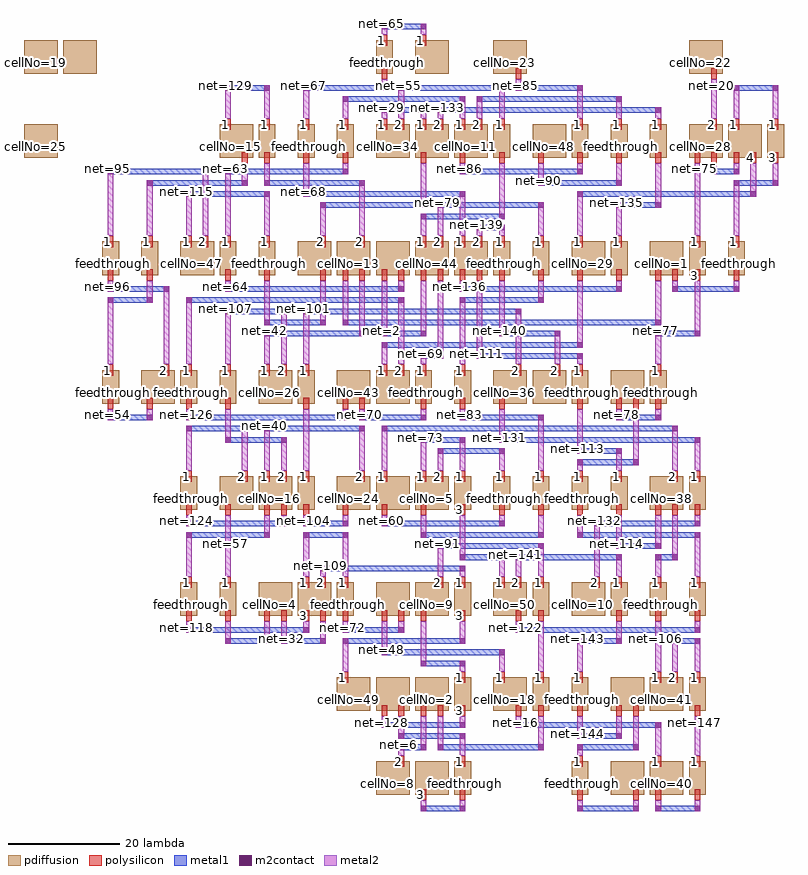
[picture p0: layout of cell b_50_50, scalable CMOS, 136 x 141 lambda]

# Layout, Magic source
magic
tech scmos
timestamp 1555071776 
<< pdiffusion >>
rect 1 -8 7 -2
rect 8 -8 14 -2
rect 64 -8 67 -2
rect 71 -8 77 -2
rect 85 -8 91 -2
rect 120 -8 126 -2
rect 1 -23 7 -17
rect 36 -23 42 -17
rect 43 -23 46 -17
rect 50 -23 53 -17
rect 57 -23 60 -17
rect 64 -23 70 -17
rect 71 -23 77 -17
rect 78 -23 84 -17
rect 85 -23 88 -17
rect 92 -23 98 -17
rect 99 -23 102 -17
rect 106 -23 109 -17
rect 113 -23 116 -17
rect 120 -23 126 -17
rect 127 -23 133 -17
rect 134 -23 137 -17
rect 15 -44 18 -38
rect 22 -44 25 -38
rect 29 -44 35 -38
rect 36 -44 39 -38
rect 43 -44 46 -38
rect 50 -44 56 -38
rect 57 -44 63 -38
rect 64 -44 70 -38
rect 71 -44 77 -38
rect 78 -44 84 -38
rect 85 -44 88 -38
rect 92 -44 95 -38
rect 99 -44 105 -38
rect 106 -44 109 -38
rect 113 -44 119 -38
rect 120 -44 123 -38
rect 127 -44 130 -38
rect 15 -67 18 -61
rect 22 -67 28 -61
rect 29 -67 32 -61
rect 36 -67 39 -61
rect 43 -67 49 -61
rect 50 -67 53 -61
rect 57 -67 63 -61
rect 64 -67 70 -61
rect 71 -67 74 -61
rect 78 -67 81 -61
rect 85 -67 91 -61
rect 92 -67 98 -61
rect 99 -67 102 -61
rect 106 -67 112 -61
rect 113 -67 116 -61
rect 29 -86 32 -80
rect 36 -86 42 -80
rect 43 -86 49 -80
rect 50 -86 53 -80
rect 57 -86 63 -80
rect 64 -86 70 -80
rect 71 -86 77 -80
rect 78 -86 81 -80
rect 85 -86 88 -80
rect 92 -86 95 -80
rect 99 -86 102 -80
rect 106 -86 109 -80
rect 113 -86 119 -80
rect 120 -86 123 -80
rect 29 -105 32 -99
rect 36 -105 39 -99
rect 43 -105 49 -99
rect 50 -105 56 -99
rect 57 -105 60 -99
rect 64 -105 70 -99
rect 71 -105 77 -99
rect 78 -105 81 -99
rect 85 -105 91 -99
rect 92 -105 95 -99
rect 99 -105 105 -99
rect 106 -105 109 -99
rect 113 -105 116 -99
rect 120 -105 123 -99
rect 57 -122 63 -116
rect 64 -122 70 -116
rect 71 -122 77 -116
rect 78 -122 81 -116
rect 85 -122 91 -116
rect 92 -122 95 -116
rect 99 -122 102 -116
rect 106 -122 112 -116
rect 113 -122 119 -116
rect 120 -122 123 -116
rect 64 -137 70 -131
rect 71 -137 77 -131
rect 78 -137 81 -131
rect 99 -137 102 -131
rect 106 -137 112 -131
rect 113 -137 119 -131
rect 120 -137 123 -131
<< polysilicon >>
rect 65 -3 66 -1
rect 65 -9 66 -7
rect 72 -3 73 -1
rect 89 -9 90 -7
rect 124 -9 125 -7
rect 37 -18 38 -16
rect 40 -24 41 -22
rect 44 -18 45 -16
rect 44 -24 45 -22
rect 51 -18 52 -16
rect 51 -24 52 -22
rect 58 -18 59 -16
rect 58 -24 59 -22
rect 65 -18 66 -16
rect 68 -18 69 -16
rect 72 -18 73 -16
rect 75 -18 76 -16
rect 72 -24 73 -22
rect 79 -18 80 -16
rect 82 -18 83 -16
rect 79 -24 80 -22
rect 86 -18 87 -16
rect 86 -24 87 -22
rect 93 -24 94 -22
rect 100 -18 101 -16
rect 100 -24 101 -22
rect 107 -18 108 -16
rect 107 -24 108 -22
rect 114 -18 115 -16
rect 114 -24 115 -22
rect 124 -18 125 -16
rect 121 -24 122 -22
rect 124 -24 125 -22
rect 128 -18 129 -16
rect 128 -24 129 -22
rect 131 -24 132 -22
rect 135 -18 136 -16
rect 135 -24 136 -22
rect 16 -39 17 -37
rect 16 -45 17 -43
rect 23 -39 24 -37
rect 23 -45 24 -43
rect 30 -39 31 -37
rect 33 -39 34 -37
rect 37 -39 38 -37
rect 37 -45 38 -43
rect 44 -39 45 -37
rect 44 -45 45 -43
rect 54 -39 55 -37
rect 54 -45 55 -43
rect 61 -39 62 -37
rect 58 -45 59 -43
rect 61 -45 62 -43
rect 65 -45 66 -43
rect 68 -45 69 -43
rect 72 -39 73 -37
rect 75 -39 76 -37
rect 72 -45 73 -43
rect 75 -45 76 -43
rect 79 -39 80 -37
rect 82 -39 83 -37
rect 79 -45 80 -43
rect 82 -45 83 -43
rect 86 -39 87 -37
rect 86 -45 87 -43
rect 93 -39 94 -37
rect 93 -45 94 -43
rect 100 -39 101 -37
rect 100 -45 101 -43
rect 107 -39 108 -37
rect 107 -45 108 -43
rect 114 -45 115 -43
rect 117 -45 118 -43
rect 121 -39 122 -37
rect 121 -45 122 -43
rect 128 -39 129 -37
rect 128 -45 129 -43
rect 16 -62 17 -60
rect 16 -68 17 -66
rect 26 -62 27 -60
rect 23 -68 24 -66
rect 30 -62 31 -60
rect 30 -68 31 -66
rect 37 -62 38 -60
rect 37 -68 38 -66
rect 44 -62 45 -60
rect 47 -62 48 -60
rect 51 -62 52 -60
rect 51 -68 52 -66
rect 58 -68 59 -66
rect 61 -68 62 -66
rect 65 -62 66 -60
rect 68 -62 69 -60
rect 72 -62 73 -60
rect 72 -68 73 -66
rect 79 -62 80 -60
rect 79 -68 80 -66
rect 89 -62 90 -60
rect 86 -68 87 -66
rect 96 -62 97 -60
rect 100 -62 101 -60
rect 100 -68 101 -66
rect 107 -68 108 -66
rect 110 -68 111 -66
rect 114 -62 115 -60
rect 114 -68 115 -66
rect 30 -81 31 -79
rect 30 -87 31 -85
rect 40 -81 41 -79
rect 37 -87 38 -85
rect 44 -81 45 -79
rect 47 -81 48 -79
rect 44 -87 45 -85
rect 47 -87 48 -85
rect 51 -81 52 -79
rect 51 -87 52 -85
rect 61 -81 62 -79
rect 58 -87 59 -85
rect 65 -81 66 -79
rect 65 -87 66 -85
rect 72 -81 73 -79
rect 75 -81 76 -79
rect 72 -87 73 -85
rect 79 -81 80 -79
rect 79 -87 80 -85
rect 86 -81 87 -79
rect 86 -87 87 -85
rect 93 -81 94 -79
rect 93 -87 94 -85
rect 100 -81 101 -79
rect 100 -87 101 -85
rect 107 -81 108 -79
rect 107 -87 108 -85
rect 117 -81 118 -79
rect 114 -87 115 -85
rect 117 -87 118 -85
rect 121 -81 122 -79
rect 121 -87 122 -85
rect 30 -100 31 -98
rect 30 -106 31 -104
rect 37 -100 38 -98
rect 37 -106 38 -104
rect 44 -106 45 -104
rect 47 -106 48 -104
rect 51 -100 52 -98
rect 54 -100 55 -98
rect 51 -106 52 -104
rect 54 -106 55 -104
rect 58 -100 59 -98
rect 58 -106 59 -104
rect 65 -106 66 -104
rect 68 -106 69 -104
rect 75 -100 76 -98
rect 72 -106 73 -104
rect 79 -100 80 -98
rect 79 -106 80 -104
rect 86 -100 87 -98
rect 89 -100 90 -98
rect 89 -106 90 -104
rect 93 -100 94 -98
rect 93 -106 94 -104
rect 103 -100 104 -98
rect 107 -100 108 -98
rect 107 -106 108 -104
rect 114 -100 115 -98
rect 114 -106 115 -104
rect 121 -100 122 -98
rect 121 -106 122 -104
rect 58 -117 59 -115
rect 65 -123 66 -121
rect 68 -123 69 -121
rect 72 -123 73 -121
rect 75 -123 76 -121
rect 79 -117 80 -115
rect 79 -123 80 -121
rect 86 -117 87 -115
rect 89 -123 90 -121
rect 93 -117 94 -115
rect 93 -123 94 -121
rect 100 -117 101 -115
rect 100 -123 101 -121
rect 107 -123 108 -121
rect 110 -123 111 -121
rect 114 -117 115 -115
rect 117 -117 118 -115
rect 121 -117 122 -115
rect 121 -123 122 -121
rect 68 -132 69 -130
rect 72 -138 73 -136
rect 79 -132 80 -130
rect 79 -138 80 -136
rect 100 -132 101 -130
rect 100 -138 101 -136
rect 110 -138 111 -136
rect 114 -132 115 -130
rect 114 -138 115 -136
rect 121 -132 122 -130
rect 121 -138 122 -136
<< metal1 >>
rect 65 0 73 1
rect 37 -11 45 -10
rect 51 -11 66 -10
rect 68 -11 87 -10
rect 89 -11 101 -10
rect 128 -11 136 -10
rect 58 -13 80 -12
rect 82 -13 108 -12
rect 65 -15 73 -14
rect 75 -15 115 -14
rect 16 -26 34 -25
rect 37 -26 59 -25
rect 79 -26 101 -25
rect 124 -26 129 -25
rect 23 -28 41 -27
rect 44 -28 62 -27
rect 93 -28 108 -27
rect 128 -28 136 -27
rect 30 -30 45 -29
rect 51 -30 80 -29
rect 100 -30 132 -29
rect 54 -32 73 -31
rect 75 -32 94 -31
rect 107 -32 115 -31
rect 72 -34 87 -33
rect 82 -36 87 -35
rect 16 -47 27 -46
rect 37 -47 69 -46
rect 79 -47 108 -46
rect 117 -47 129 -46
rect 16 -49 24 -48
rect 30 -49 69 -48
rect 79 -49 94 -48
rect 37 -51 48 -50
rect 51 -51 90 -50
rect 44 -53 55 -52
rect 58 -53 115 -52
rect 44 -55 62 -54
rect 65 -55 73 -54
rect 86 -55 97 -54
rect 114 -55 122 -54
rect 65 -57 101 -56
rect 72 -59 76 -58
rect 82 -59 101 -58
rect 16 -70 24 -69
rect 30 -70 59 -69
rect 61 -70 73 -69
rect 79 -70 94 -69
rect 107 -70 115 -69
rect 30 -72 41 -71
rect 44 -72 62 -71
rect 65 -72 118 -71
rect 37 -74 48 -73
rect 72 -74 80 -73
rect 86 -74 122 -73
rect 75 -76 87 -75
rect 100 -76 108 -75
rect 100 -78 111 -77
rect 30 -89 48 -88
rect 51 -89 59 -88
rect 65 -89 87 -88
rect 103 -89 122 -88
rect 30 -91 45 -90
rect 51 -91 59 -90
rect 72 -91 94 -90
rect 100 -91 122 -90
rect 75 -93 94 -92
rect 107 -93 115 -92
rect 79 -95 87 -94
rect 89 -95 108 -94
rect 114 -95 118 -94
rect 54 -97 80 -96
rect 30 -108 52 -107
rect 58 -108 69 -107
rect 89 -108 122 -107
rect 37 -110 45 -109
rect 47 -110 55 -109
rect 58 -110 80 -109
rect 100 -110 108 -109
rect 117 -110 122 -109
rect 65 -112 87 -111
rect 72 -114 80 -113
rect 65 -125 80 -124
rect 89 -125 115 -124
rect 68 -127 80 -126
rect 100 -127 108 -126
rect 68 -129 73 -128
rect 75 -129 94 -128
rect 100 -129 111 -128
rect 72 -140 80 -139
rect 100 -140 111 -139
rect 114 -140 122 -139
<< m2contact >>
rect 65 0 66 1
rect 72 0 73 1
rect 37 -11 38 -10
rect 44 -11 45 -10
rect 51 -11 52 -10
rect 65 -11 66 -10
rect 68 -11 69 -10
rect 86 -11 87 -10
rect 89 -11 90 -10
rect 100 -11 101 -10
rect 128 -11 129 -10
rect 135 -11 136 -10
rect 58 -13 59 -12
rect 79 -13 80 -12
rect 82 -13 83 -12
rect 107 -13 108 -12
rect 65 -15 66 -14
rect 72 -15 73 -14
rect 75 -15 76 -14
rect 114 -15 115 -14
rect 16 -26 17 -25
rect 33 -26 34 -25
rect 37 -26 38 -25
rect 58 -26 59 -25
rect 79 -26 80 -25
rect 100 -26 101 -25
rect 124 -26 125 -25
rect 128 -26 129 -25
rect 23 -28 24 -27
rect 40 -28 41 -27
rect 44 -28 45 -27
rect 61 -28 62 -27
rect 93 -28 94 -27
rect 107 -28 108 -27
rect 128 -28 129 -27
rect 135 -28 136 -27
rect 30 -30 31 -29
rect 44 -30 45 -29
rect 51 -30 52 -29
rect 79 -30 80 -29
rect 100 -30 101 -29
rect 131 -30 132 -29
rect 54 -32 55 -31
rect 72 -32 73 -31
rect 75 -32 76 -31
rect 93 -32 94 -31
rect 107 -32 108 -31
rect 114 -32 115 -31
rect 72 -34 73 -33
rect 86 -34 87 -33
rect 82 -36 83 -35
rect 86 -36 87 -35
rect 16 -47 17 -46
rect 26 -47 27 -46
rect 37 -47 38 -46
rect 68 -47 69 -46
rect 79 -47 80 -46
rect 107 -47 108 -46
rect 117 -47 118 -46
rect 128 -47 129 -46
rect 16 -49 17 -48
rect 23 -49 24 -48
rect 30 -49 31 -48
rect 68 -49 69 -48
rect 79 -49 80 -48
rect 93 -49 94 -48
rect 37 -51 38 -50
rect 47 -51 48 -50
rect 51 -51 52 -50
rect 89 -51 90 -50
rect 44 -53 45 -52
rect 54 -53 55 -52
rect 58 -53 59 -52
rect 114 -53 115 -52
rect 44 -55 45 -54
rect 61 -55 62 -54
rect 65 -55 66 -54
rect 72 -55 73 -54
rect 86 -55 87 -54
rect 96 -55 97 -54
rect 114 -55 115 -54
rect 121 -55 122 -54
rect 65 -57 66 -56
rect 100 -57 101 -56
rect 72 -59 73 -58
rect 75 -59 76 -58
rect 82 -59 83 -58
rect 100 -59 101 -58
rect 16 -70 17 -69
rect 23 -70 24 -69
rect 30 -70 31 -69
rect 58 -70 59 -69
rect 61 -70 62 -69
rect 72 -70 73 -69
rect 79 -70 80 -69
rect 93 -70 94 -69
rect 107 -70 108 -69
rect 114 -70 115 -69
rect 30 -72 31 -71
rect 40 -72 41 -71
rect 44 -72 45 -71
rect 61 -72 62 -71
rect 65 -72 66 -71
rect 117 -72 118 -71
rect 37 -74 38 -73
rect 47 -74 48 -73
rect 72 -74 73 -73
rect 79 -74 80 -73
rect 86 -74 87 -73
rect 121 -74 122 -73
rect 75 -76 76 -75
rect 86 -76 87 -75
rect 100 -76 101 -75
rect 107 -76 108 -75
rect 100 -78 101 -77
rect 110 -78 111 -77
rect 30 -89 31 -88
rect 47 -89 48 -88
rect 51 -89 52 -88
rect 58 -89 59 -88
rect 65 -89 66 -88
rect 86 -89 87 -88
rect 103 -89 104 -88
rect 121 -89 122 -88
rect 30 -91 31 -90
rect 44 -91 45 -90
rect 51 -91 52 -90
rect 58 -91 59 -90
rect 72 -91 73 -90
rect 93 -91 94 -90
rect 100 -91 101 -90
rect 121 -91 122 -90
rect 75 -93 76 -92
rect 93 -93 94 -92
rect 107 -93 108 -92
rect 114 -93 115 -92
rect 79 -95 80 -94
rect 86 -95 87 -94
rect 89 -95 90 -94
rect 107 -95 108 -94
rect 114 -95 115 -94
rect 117 -95 118 -94
rect 54 -97 55 -96
rect 79 -97 80 -96
rect 30 -108 31 -107
rect 51 -108 52 -107
rect 58 -108 59 -107
rect 68 -108 69 -107
rect 89 -108 90 -107
rect 121 -108 122 -107
rect 37 -110 38 -109
rect 44 -110 45 -109
rect 47 -110 48 -109
rect 54 -110 55 -109
rect 58 -110 59 -109
rect 79 -110 80 -109
rect 100 -110 101 -109
rect 107 -110 108 -109
rect 117 -110 118 -109
rect 121 -110 122 -109
rect 65 -112 66 -111
rect 86 -112 87 -111
rect 72 -114 73 -113
rect 79 -114 80 -113
rect 65 -125 66 -124
rect 79 -125 80 -124
rect 89 -125 90 -124
rect 114 -125 115 -124
rect 68 -127 69 -126
rect 79 -127 80 -126
rect 100 -127 101 -126
rect 107 -127 108 -126
rect 68 -129 69 -128
rect 72 -129 73 -128
rect 75 -129 76 -128
rect 93 -129 94 -128
rect 100 -129 101 -128
rect 110 -129 111 -128
rect 72 -140 73 -139
rect 79 -140 80 -139
rect 100 -140 101 -139
rect 110 -140 111 -139
rect 114 -140 115 -139
rect 121 -140 122 -139
<< metal2 >>
rect 65 -1 66 1
rect 72 -1 73 1
rect 37 -16 38 -10
rect 44 -16 45 -10
rect 51 -16 52 -10
rect 65 -11 66 -9
rect 68 -16 69 -10
rect 86 -16 87 -10
rect 89 -11 90 -9
rect 100 -16 101 -10
rect 124 -11 125 -9
rect 124 -16 125 -10
rect 124 -11 125 -9
rect 124 -16 125 -10
rect 128 -16 129 -10
rect 135 -16 136 -10
rect 58 -16 59 -12
rect 79 -16 80 -12
rect 82 -16 83 -12
rect 107 -16 108 -12
rect 65 -16 66 -14
rect 72 -16 73 -14
rect 75 -16 76 -14
rect 114 -16 115 -14
rect 16 -37 17 -25
rect 33 -37 34 -25
rect 37 -37 38 -25
rect 58 -26 59 -24
rect 79 -26 80 -24
rect 100 -26 101 -24
rect 121 -26 122 -24
rect 121 -37 122 -25
rect 121 -26 122 -24
rect 121 -37 122 -25
rect 124 -26 125 -24
rect 128 -26 129 -24
rect 23 -37 24 -27
rect 40 -28 41 -24
rect 44 -28 45 -24
rect 61 -37 62 -27
rect 93 -28 94 -24
rect 107 -28 108 -24
rect 128 -37 129 -27
rect 135 -28 136 -24
rect 30 -37 31 -29
rect 44 -37 45 -29
rect 51 -30 52 -24
rect 79 -37 80 -29
rect 100 -37 101 -29
rect 131 -30 132 -24
rect 54 -37 55 -31
rect 72 -32 73 -24
rect 75 -37 76 -31
rect 93 -37 94 -31
rect 107 -37 108 -31
rect 114 -32 115 -24
rect 72 -37 73 -33
rect 86 -34 87 -24
rect 82 -37 83 -35
rect 86 -37 87 -35
rect 16 -47 17 -45
rect 26 -60 27 -46
rect 37 -47 38 -45
rect 68 -47 69 -45
rect 79 -47 80 -45
rect 107 -47 108 -45
rect 117 -47 118 -45
rect 128 -47 129 -45
rect 16 -60 17 -48
rect 23 -49 24 -45
rect 30 -60 31 -48
rect 68 -60 69 -48
rect 79 -60 80 -48
rect 93 -49 94 -45
rect 37 -60 38 -50
rect 47 -60 48 -50
rect 51 -60 52 -50
rect 89 -60 90 -50
rect 44 -53 45 -45
rect 54 -53 55 -45
rect 58 -53 59 -45
rect 114 -53 115 -45
rect 44 -60 45 -54
rect 61 -55 62 -45
rect 65 -55 66 -45
rect 72 -55 73 -45
rect 86 -55 87 -45
rect 96 -60 97 -54
rect 114 -60 115 -54
rect 121 -55 122 -45
rect 65 -60 66 -56
rect 100 -57 101 -45
rect 72 -60 73 -58
rect 75 -59 76 -45
rect 82 -59 83 -45
rect 100 -60 101 -58
rect 16 -70 17 -68
rect 23 -70 24 -68
rect 30 -70 31 -68
rect 58 -70 59 -68
rect 61 -70 62 -68
rect 72 -70 73 -68
rect 79 -70 80 -68
rect 93 -79 94 -69
rect 107 -70 108 -68
rect 114 -70 115 -68
rect 30 -79 31 -71
rect 40 -79 41 -71
rect 44 -79 45 -71
rect 61 -79 62 -71
rect 65 -79 66 -71
rect 117 -79 118 -71
rect 37 -74 38 -68
rect 47 -79 48 -73
rect 51 -74 52 -68
rect 51 -79 52 -73
rect 51 -74 52 -68
rect 51 -79 52 -73
rect 72 -79 73 -73
rect 79 -79 80 -73
rect 86 -74 87 -68
rect 121 -79 122 -73
rect 75 -79 76 -75
rect 86 -79 87 -75
rect 100 -76 101 -68
rect 107 -79 108 -75
rect 100 -79 101 -77
rect 110 -78 111 -68
rect 30 -89 31 -87
rect 47 -89 48 -87
rect 51 -89 52 -87
rect 58 -89 59 -87
rect 65 -89 66 -87
rect 86 -89 87 -87
rect 103 -98 104 -88
rect 121 -89 122 -87
rect 30 -98 31 -90
rect 44 -91 45 -87
rect 51 -98 52 -90
rect 58 -98 59 -90
rect 72 -91 73 -87
rect 93 -91 94 -87
rect 100 -91 101 -87
rect 121 -98 122 -90
rect 37 -93 38 -87
rect 37 -98 38 -92
rect 37 -93 38 -87
rect 37 -98 38 -92
rect 75 -98 76 -92
rect 93 -98 94 -92
rect 107 -93 108 -87
rect 114 -93 115 -87
rect 79 -95 80 -87
rect 86 -98 87 -94
rect 89 -98 90 -94
rect 107 -98 108 -94
rect 114 -98 115 -94
rect 117 -95 118 -87
rect 54 -98 55 -96
rect 79 -98 80 -96
rect 30 -108 31 -106
rect 51 -108 52 -106
rect 58 -108 59 -106
rect 68 -108 69 -106
rect 89 -108 90 -106
rect 121 -108 122 -106
rect 37 -110 38 -106
rect 44 -110 45 -106
rect 47 -110 48 -106
rect 54 -110 55 -106
rect 58 -115 59 -109
rect 79 -110 80 -106
rect 93 -110 94 -106
rect 93 -115 94 -109
rect 93 -110 94 -106
rect 93 -115 94 -109
rect 100 -115 101 -109
rect 107 -110 108 -106
rect 114 -110 115 -106
rect 114 -115 115 -109
rect 114 -110 115 -106
rect 114 -115 115 -109
rect 117 -115 118 -109
rect 121 -115 122 -109
rect 65 -112 66 -106
rect 86 -115 87 -111
rect 72 -114 73 -106
rect 79 -115 80 -113
rect 65 -125 66 -123
rect 79 -125 80 -123
rect 89 -125 90 -123
rect 114 -130 115 -124
rect 121 -125 122 -123
rect 121 -130 122 -124
rect 121 -125 122 -123
rect 121 -130 122 -124
rect 68 -127 69 -123
rect 79 -130 80 -126
rect 100 -127 101 -123
rect 107 -127 108 -123
rect 68 -130 69 -128
rect 72 -129 73 -123
rect 75 -129 76 -123
rect 93 -129 94 -123
rect 100 -130 101 -128
rect 110 -129 111 -123
rect 72 -140 73 -138
rect 79 -140 80 -138
rect 100 -140 101 -138
rect 110 -140 111 -138
rect 114 -140 115 -138
rect 121 -140 122 -138
<< labels >>
rlabel pdiffusion 3 -6 3 -6 0 cellNo=19
rlabel pdiffusion 10 -6 10 -6 0 cellNo=35
rlabel pdiffusion 66 -6 66 -6 0 feedthrough
rlabel pdiffusion 73 -6 73 -6 0 cellNo=21
rlabel pdiffusion 87 -6 87 -6 0 cellNo=23
rlabel pdiffusion 122 -6 122 -6 0 cellNo=22
rlabel pdiffusion 3 -21 3 -21 0 cellNo=25
rlabel pdiffusion 38 -21 38 -21 0 cellNo=15
rlabel pdiffusion 45 -21 45 -21 0 feedthrough
rlabel pdiffusion 52 -21 52 -21 0 feedthrough
rlabel pdiffusion 59 -21 59 -21 0 feedthrough
rlabel pdiffusion 66 -21 66 -21 0 cellNo=34
rlabel pdiffusion 73 -21 73 -21 0 cellNo=14
rlabel pdiffusion 80 -21 80 -21 0 cellNo=11
rlabel pdiffusion 87 -21 87 -21 0 feedthrough
rlabel pdiffusion 94 -21 94 -21 0 cellNo=48
rlabel pdiffusion 101 -21 101 -21 0 feedthrough
rlabel pdiffusion 108 -21 108 -21 0 feedthrough
rlabel pdiffusion 115 -21 115 -21 0 feedthrough
rlabel pdiffusion 122 -21 122 -21 0 cellNo=28
rlabel pdiffusion 129 -21 129 -21 0 cellNo=20
rlabel pdiffusion 136 -21 136 -21 0 feedthrough
rlabel pdiffusion 17 -42 17 -42 0 feedthrough
rlabel pdiffusion 24 -42 24 -42 0 feedthrough
rlabel pdiffusion 31 -42 31 -42 0 cellNo=47
rlabel pdiffusion 38 -42 38 -42 0 feedthrough
rlabel pdiffusion 45 -42 45 -42 0 feedthrough
rlabel pdiffusion 52 -42 52 -42 0 cellNo=3
rlabel pdiffusion 59 -42 59 -42 0 cellNo=13
rlabel pdiffusion 66 -42 66 -42 0 cellNo=42
rlabel pdiffusion 73 -42 73 -42 0 cellNo=44
rlabel pdiffusion 80 -42 80 -42 0 cellNo=33
rlabel pdiffusion 87 -42 87 -42 0 feedthrough
rlabel pdiffusion 94 -42 94 -42 0 feedthrough
rlabel pdiffusion 101 -42 101 -42 0 cellNo=29
rlabel pdiffusion 108 -42 108 -42 0 feedthrough
rlabel pdiffusion 115 -42 115 -42 0 cellNo=1
rlabel pdiffusion 122 -42 122 -42 0 feedthrough
rlabel pdiffusion 129 -42 129 -42 0 feedthrough
rlabel pdiffusion 17 -65 17 -65 0 feedthrough
rlabel pdiffusion 24 -65 24 -65 0 cellNo=31
rlabel pdiffusion 31 -65 31 -65 0 feedthrough
rlabel pdiffusion 38 -65 38 -65 0 feedthrough
rlabel pdiffusion 45 -65 45 -65 0 cellNo=26
rlabel pdiffusion 52 -65 52 -65 0 feedthrough
rlabel pdiffusion 59 -65 59 -65 0 cellNo=43
rlabel pdiffusion 66 -65 66 -65 0 cellNo=32
rlabel pdiffusion 73 -65 73 -65 0 feedthrough
rlabel pdiffusion 80 -65 80 -65 0 feedthrough
rlabel pdiffusion 87 -65 87 -65 0 cellNo=36
rlabel pdiffusion 94 -65 94 -65 0 cellNo=12
rlabel pdiffusion 101 -65 101 -65 0 feedthrough
rlabel pdiffusion 108 -65 108 -65 0 cellNo=17
rlabel pdiffusion 115 -65 115 -65 0 feedthrough
rlabel pdiffusion 31 -84 31 -84 0 feedthrough
rlabel pdiffusion 38 -84 38 -84 0 cellNo=37
rlabel pdiffusion 45 -84 45 -84 0 cellNo=16
rlabel pdiffusion 52 -84 52 -84 0 feedthrough
rlabel pdiffusion 59 -84 59 -84 0 cellNo=24
rlabel pdiffusion 66 -84 66 -84 0 cellNo=30
rlabel pdiffusion 73 -84 73 -84 0 cellNo=5
rlabel pdiffusion 80 -84 80 -84 0 feedthrough
rlabel pdiffusion 87 -84 87 -84 0 feedthrough
rlabel pdiffusion 94 -84 94 -84 0 feedthrough
rlabel pdiffusion 101 -84 101 -84 0 feedthrough
rlabel pdiffusion 108 -84 108 -84 0 feedthrough
rlabel pdiffusion 115 -84 115 -84 0 cellNo=38
rlabel pdiffusion 122 -84 122 -84 0 feedthrough
rlabel pdiffusion 31 -103 31 -103 0 feedthrough
rlabel pdiffusion 38 -103 38 -103 0 feedthrough
rlabel pdiffusion 45 -103 45 -103 0 cellNo=4
rlabel pdiffusion 52 -103 52 -103 0 cellNo=39
rlabel pdiffusion 59 -103 59 -103 0 feedthrough
rlabel pdiffusion 66 -103 66 -103 0 cellNo=45
rlabel pdiffusion 73 -103 73 -103 0 cellNo=9
rlabel pdiffusion 80 -103 80 -103 0 feedthrough
rlabel pdiffusion 87 -103 87 -103 0 cellNo=50
rlabel pdiffusion 94 -103 94 -103 0 feedthrough
rlabel pdiffusion 101 -103 101 -103 0 cellNo=10
rlabel pdiffusion 108 -103 108 -103 0 feedthrough
rlabel pdiffusion 115 -103 115 -103 0 feedthrough
rlabel pdiffusion 122 -103 122 -103 0 feedthrough
rlabel pdiffusion 59 -120 59 -120 0 cellNo=49
rlabel pdiffusion 66 -120 66 -120 0 cellNo=46
rlabel pdiffusion 73 -120 73 -120 0 cellNo=2
rlabel pdiffusion 80 -120 80 -120 0 feedthrough
rlabel pdiffusion 87 -120 87 -120 0 cellNo=18
rlabel pdiffusion 94 -120 94 -120 0 feedthrough
rlabel pdiffusion 101 -120 101 -120 0 feedthrough
rlabel pdiffusion 108 -120 108 -120 0 cellNo=6
rlabel pdiffusion 115 -120 115 -120 0 cellNo=41
rlabel pdiffusion 122 -120 122 -120 0 feedthrough
rlabel pdiffusion 66 -135 66 -135 0 cellNo=8
rlabel pdiffusion 73 -135 73 -135 0 cellNo=7
rlabel pdiffusion 80 -135 80 -135 0 feedthrough
rlabel pdiffusion 101 -135 101 -135 0 feedthrough
rlabel pdiffusion 108 -135 108 -135 0 cellNo=27
rlabel pdiffusion 115 -135 115 -135 0 cellNo=40
rlabel pdiffusion 122 -135 122 -135 0 feedthrough
rlabel polysilicon 65 -2 65 -2 0 1
rlabel polysilicon 65 -8 65 -8 0 3
rlabel polysilicon 72 -2 72 -2 0 1
rlabel polysilicon 89 -8 89 -8 0 4
rlabel polysilicon 124 -8 124 -8 0 4
rlabel polysilicon 37 -17 37 -17 0 1
rlabel polysilicon 40 -23 40 -23 0 4
rlabel polysilicon 44 -17 44 -17 0 1
rlabel polysilicon 44 -23 44 -23 0 3
rlabel polysilicon 51 -17 51 -17 0 1
rlabel polysilicon 51 -23 51 -23 0 3
rlabel polysilicon 58 -17 58 -17 0 1
rlabel polysilicon 58 -23 58 -23 0 3
rlabel polysilicon 65 -17 65 -17 0 1
rlabel polysilicon 68 -17 68 -17 0 2
rlabel polysilicon 72 -17 72 -17 0 1
rlabel polysilicon 75 -17 75 -17 0 2
rlabel polysilicon 72 -23 72 -23 0 3
rlabel polysilicon 79 -17 79 -17 0 1
rlabel polysilicon 82 -17 82 -17 0 2
rlabel polysilicon 79 -23 79 -23 0 3
rlabel polysilicon 86 -17 86 -17 0 1
rlabel polysilicon 86 -23 86 -23 0 3
rlabel polysilicon 93 -23 93 -23 0 3
rlabel polysilicon 100 -17 100 -17 0 1
rlabel polysilicon 100 -23 100 -23 0 3
rlabel polysilicon 107 -17 107 -17 0 1
rlabel polysilicon 107 -23 107 -23 0 3
rlabel polysilicon 114 -17 114 -17 0 1
rlabel polysilicon 114 -23 114 -23 0 3
rlabel polysilicon 124 -17 124 -17 0 2
rlabel polysilicon 121 -23 121 -23 0 3
rlabel polysilicon 124 -23 124 -23 0 4
rlabel polysilicon 128 -17 128 -17 0 1
rlabel polysilicon 128 -23 128 -23 0 3
rlabel polysilicon 131 -23 131 -23 0 4
rlabel polysilicon 135 -17 135 -17 0 1
rlabel polysilicon 135 -23 135 -23 0 3
rlabel polysilicon 16 -38 16 -38 0 1
rlabel polysilicon 16 -44 16 -44 0 3
rlabel polysilicon 23 -38 23 -38 0 1
rlabel polysilicon 23 -44 23 -44 0 3
rlabel polysilicon 30 -38 30 -38 0 1
rlabel polysilicon 33 -38 33 -38 0 2
rlabel polysilicon 37 -38 37 -38 0 1
rlabel polysilicon 37 -44 37 -44 0 3
rlabel polysilicon 44 -38 44 -38 0 1
rlabel polysilicon 44 -44 44 -44 0 3
rlabel polysilicon 54 -38 54 -38 0 2
rlabel polysilicon 54 -44 54 -44 0 4
rlabel polysilicon 61 -38 61 -38 0 2
rlabel polysilicon 58 -44 58 -44 0 3
rlabel polysilicon 61 -44 61 -44 0 4
rlabel polysilicon 65 -44 65 -44 0 3
rlabel polysilicon 68 -44 68 -44 0 4
rlabel polysilicon 72 -38 72 -38 0 1
rlabel polysilicon 75 -38 75 -38 0 2
rlabel polysilicon 72 -44 72 -44 0 3
rlabel polysilicon 75 -44 75 -44 0 4
rlabel polysilicon 79 -38 79 -38 0 1
rlabel polysilicon 82 -38 82 -38 0 2
rlabel polysilicon 79 -44 79 -44 0 3
rlabel polysilicon 82 -44 82 -44 0 4
rlabel polysilicon 86 -38 86 -38 0 1
rlabel polysilicon 86 -44 86 -44 0 3
rlabel polysilicon 93 -38 93 -38 0 1
rlabel polysilicon 93 -44 93 -44 0 3
rlabel polysilicon 100 -38 100 -38 0 1
rlabel polysilicon 100 -44 100 -44 0 3
rlabel polysilicon 107 -38 107 -38 0 1
rlabel polysilicon 107 -44 107 -44 0 3
rlabel polysilicon 114 -44 114 -44 0 3
rlabel polysilicon 117 -44 117 -44 0 4
rlabel polysilicon 121 -38 121 -38 0 1
rlabel polysilicon 121 -44 121 -44 0 3
rlabel polysilicon 128 -38 128 -38 0 1
rlabel polysilicon 128 -44 128 -44 0 3
rlabel polysilicon 16 -61 16 -61 0 1
rlabel polysilicon 16 -67 16 -67 0 3
rlabel polysilicon 26 -61 26 -61 0 2
rlabel polysilicon 23 -67 23 -67 0 3
rlabel polysilicon 30 -61 30 -61 0 1
rlabel polysilicon 30 -67 30 -67 0 3
rlabel polysilicon 37 -61 37 -61 0 1
rlabel polysilicon 37 -67 37 -67 0 3
rlabel polysilicon 44 -61 44 -61 0 1
rlabel polysilicon 47 -61 47 -61 0 2
rlabel polysilicon 51 -61 51 -61 0 1
rlabel polysilicon 51 -67 51 -67 0 3
rlabel polysilicon 58 -67 58 -67 0 3
rlabel polysilicon 61 -67 61 -67 0 4
rlabel polysilicon 65 -61 65 -61 0 1
rlabel polysilicon 68 -61 68 -61 0 2
rlabel polysilicon 72 -61 72 -61 0 1
rlabel polysilicon 72 -67 72 -67 0 3
rlabel polysilicon 79 -61 79 -61 0 1
rlabel polysilicon 79 -67 79 -67 0 3
rlabel polysilicon 89 -61 89 -61 0 2
rlabel polysilicon 86 -67 86 -67 0 3
rlabel polysilicon 96 -61 96 -61 0 2
rlabel polysilicon 100 -61 100 -61 0 1
rlabel polysilicon 100 -67 100 -67 0 3
rlabel polysilicon 107 -67 107 -67 0 3
rlabel polysilicon 110 -67 110 -67 0 4
rlabel polysilicon 114 -61 114 -61 0 1
rlabel polysilicon 114 -67 114 -67 0 3
rlabel polysilicon 30 -80 30 -80 0 1
rlabel polysilicon 30 -86 30 -86 0 3
rlabel polysilicon 40 -80 40 -80 0 2
rlabel polysilicon 37 -86 37 -86 0 3
rlabel polysilicon 44 -80 44 -80 0 1
rlabel polysilicon 47 -80 47 -80 0 2
rlabel polysilicon 44 -86 44 -86 0 3
rlabel polysilicon 47 -86 47 -86 0 4
rlabel polysilicon 51 -80 51 -80 0 1
rlabel polysilicon 51 -86 51 -86 0 3
rlabel polysilicon 61 -80 61 -80 0 2
rlabel polysilicon 58 -86 58 -86 0 3
rlabel polysilicon 65 -80 65 -80 0 1
rlabel polysilicon 65 -86 65 -86 0 3
rlabel polysilicon 72 -80 72 -80 0 1
rlabel polysilicon 75 -80 75 -80 0 2
rlabel polysilicon 72 -86 72 -86 0 3
rlabel polysilicon 79 -80 79 -80 0 1
rlabel polysilicon 79 -86 79 -86 0 3
rlabel polysilicon 86 -80 86 -80 0 1
rlabel polysilicon 86 -86 86 -86 0 3
rlabel polysilicon 93 -80 93 -80 0 1
rlabel polysilicon 93 -86 93 -86 0 3
rlabel polysilicon 100 -80 100 -80 0 1
rlabel polysilicon 100 -86 100 -86 0 3
rlabel polysilicon 107 -80 107 -80 0 1
rlabel polysilicon 107 -86 107 -86 0 3
rlabel polysilicon 117 -80 117 -80 0 2
rlabel polysilicon 114 -86 114 -86 0 3
rlabel polysilicon 117 -86 117 -86 0 4
rlabel polysilicon 121 -80 121 -80 0 1
rlabel polysilicon 121 -86 121 -86 0 3
rlabel polysilicon 30 -99 30 -99 0 1
rlabel polysilicon 30 -105 30 -105 0 3
rlabel polysilicon 37 -99 37 -99 0 1
rlabel polysilicon 37 -105 37 -105 0 3
rlabel polysilicon 44 -105 44 -105 0 3
rlabel polysilicon 47 -105 47 -105 0 4
rlabel polysilicon 51 -99 51 -99 0 1
rlabel polysilicon 54 -99 54 -99 0 2
rlabel polysilicon 51 -105 51 -105 0 3
rlabel polysilicon 54 -105 54 -105 0 4
rlabel polysilicon 58 -99 58 -99 0 1
rlabel polysilicon 58 -105 58 -105 0 3
rlabel polysilicon 65 -105 65 -105 0 3
rlabel polysilicon 68 -105 68 -105 0 4
rlabel polysilicon 75 -99 75 -99 0 2
rlabel polysilicon 72 -105 72 -105 0 3
rlabel polysilicon 79 -99 79 -99 0 1
rlabel polysilicon 79 -105 79 -105 0 3
rlabel polysilicon 86 -99 86 -99 0 1
rlabel polysilicon 89 -99 89 -99 0 2
rlabel polysilicon 89 -105 89 -105 0 4
rlabel polysilicon 93 -99 93 -99 0 1
rlabel polysilicon 93 -105 93 -105 0 3
rlabel polysilicon 103 -99 103 -99 0 2
rlabel polysilicon 107 -99 107 -99 0 1
rlabel polysilicon 107 -105 107 -105 0 3
rlabel polysilicon 114 -99 114 -99 0 1
rlabel polysilicon 114 -105 114 -105 0 3
rlabel polysilicon 121 -99 121 -99 0 1
rlabel polysilicon 121 -105 121 -105 0 3
rlabel polysilicon 58 -116 58 -116 0 1
rlabel polysilicon 65 -122 65 -122 0 3
rlabel polysilicon 68 -122 68 -122 0 4
rlabel polysilicon 72 -122 72 -122 0 3
rlabel polysilicon 75 -122 75 -122 0 4
rlabel polysilicon 79 -116 79 -116 0 1
rlabel polysilicon 79 -122 79 -122 0 3
rlabel polysilicon 86 -116 86 -116 0 1
rlabel polysilicon 89 -122 89 -122 0 4
rlabel polysilicon 93 -116 93 -116 0 1
rlabel polysilicon 93 -122 93 -122 0 3
rlabel polysilicon 100 -116 100 -116 0 1
rlabel polysilicon 100 -122 100 -122 0 3
rlabel polysilicon 107 -122 107 -122 0 3
rlabel polysilicon 110 -122 110 -122 0 4
rlabel polysilicon 114 -116 114 -116 0 1
rlabel polysilicon 117 -116 117 -116 0 2
rlabel polysilicon 121 -116 121 -116 0 1
rlabel polysilicon 121 -122 121 -122 0 3
rlabel polysilicon 68 -131 68 -131 0 2
rlabel polysilicon 72 -137 72 -137 0 3
rlabel polysilicon 79 -131 79 -131 0 1
rlabel polysilicon 79 -137 79 -137 0 3
rlabel polysilicon 100 -131 100 -131 0 1
rlabel polysilicon 100 -137 100 -137 0 3
rlabel polysilicon 110 -137 110 -137 0 4
rlabel polysilicon 114 -131 114 -131 0 1
rlabel polysilicon 114 -137 114 -137 0 3
rlabel polysilicon 121 -131 121 -131 0 1
rlabel polysilicon 121 -137 121 -137 0 3
rlabel metal2 65 1 65 1 0 net=65
rlabel metal2 37 -10 37 -10 0 net=129
rlabel metal2 51 -10 51 -10 0 net=67
rlabel metal2 68 -10 68 -10 0 net=55
rlabel metal2 89 -10 89 -10 0 net=85
rlabel metal2 124 -10 124 -10 0 net=20
rlabel metal2 124 -10 124 -10 0 net=20
rlabel metal2 128 -10 128 -10 0 net=97
rlabel metal2 58 -12 58 -12 0 net=61
rlabel metal2 82 -12 82 -12 0 net=89
rlabel metal2 65 -14 65 -14 0 net=29
rlabel metal2 75 -14 75 -14 0 net=133
rlabel metal2 16 -25 16 -25 0 net=95
rlabel metal2 37 -25 37 -25 0 net=63
rlabel metal2 79 -25 79 -25 0 net=86
rlabel metal2 121 -25 121 -25 0 net=75
rlabel metal2 121 -25 121 -25 0 net=75
rlabel metal2 124 -25 124 -25 0 net=25
rlabel metal2 23 -27 23 -27 0 net=51
rlabel metal2 44 -27 44 -27 0 net=130
rlabel metal2 93 -27 93 -27 0 net=90
rlabel metal2 128 -27 128 -27 0 net=99
rlabel metal2 30 -29 30 -29 0 net=115
rlabel metal2 51 -29 51 -29 0 net=68
rlabel metal2 100 -29 100 -29 0 net=27
rlabel metal2 54 -31 54 -31 0 net=47
rlabel metal2 75 -31 75 -31 0 net=79
rlabel metal2 107 -31 107 -31 0 net=135
rlabel metal2 72 -33 72 -33 0 net=56
rlabel metal2 82 -35 82 -35 0 net=139
rlabel metal2 16 -46 16 -46 0 net=96
rlabel metal2 37 -46 37 -46 0 net=64
rlabel metal2 79 -46 79 -46 0 net=136
rlabel metal2 117 -46 117 -46 0 net=100
rlabel metal2 16 -48 16 -48 0 net=53
rlabel metal2 30 -48 30 -48 0 net=125
rlabel metal2 79 -48 79 -48 0 net=81
rlabel metal2 37 -50 37 -50 0 net=107
rlabel metal2 51 -50 51 -50 0 net=101
rlabel metal2 44 -52 44 -52 0 net=116
rlabel metal2 58 -52 58 -52 0 net=39
rlabel metal2 44 -54 44 -54 0 net=42
rlabel metal2 65 -54 65 -54 0 net=2
rlabel metal2 86 -54 86 -54 0 net=140
rlabel metal2 114 -54 114 -54 0 net=77
rlabel metal2 65 -56 65 -56 0 net=14
rlabel metal2 72 -58 72 -58 0 net=69
rlabel metal2 82 -58 82 -58 0 net=111
rlabel metal2 16 -69 16 -69 0 net=54
rlabel metal2 30 -69 30 -69 0 net=126
rlabel metal2 61 -69 61 -69 0 net=70
rlabel metal2 79 -69 79 -69 0 net=83
rlabel metal2 107 -69 107 -69 0 net=78
rlabel metal2 30 -71 30 -71 0 net=123
rlabel metal2 44 -71 44 -71 0 net=40
rlabel metal2 65 -71 65 -71 0 net=45
rlabel metal2 37 -73 37 -73 0 net=108
rlabel metal2 51 -73 51 -73 0 net=103
rlabel metal2 51 -73 51 -73 0 net=103
rlabel metal2 72 -73 72 -73 0 net=73
rlabel metal2 86 -73 86 -73 0 net=131
rlabel metal2 75 -75 75 -75 0 net=59
rlabel metal2 100 -75 100 -75 0 net=113
rlabel metal2 100 -77 100 -77 0 net=119
rlabel metal2 30 -88 30 -88 0 net=124
rlabel metal2 51 -88 51 -88 0 net=104
rlabel metal2 65 -88 65 -88 0 net=60
rlabel metal2 103 -88 103 -88 0 net=132
rlabel metal2 30 -90 30 -90 0 net=117
rlabel metal2 51 -90 51 -90 0 net=71
rlabel metal2 72 -90 72 -90 0 net=84
rlabel metal2 100 -90 100 -90 0 net=121
rlabel metal2 37 -92 37 -92 0 net=57
rlabel metal2 37 -92 37 -92 0 net=57
rlabel metal2 75 -92 75 -92 0 net=91
rlabel metal2 107 -92 107 -92 0 net=114
rlabel metal2 79 -94 79 -94 0 net=74
rlabel metal2 89 -94 89 -94 0 net=141
rlabel metal2 114 -94 114 -94 0 net=105
rlabel metal2 54 -96 54 -96 0 net=109
rlabel metal2 30 -107 30 -107 0 net=118
rlabel metal2 58 -107 58 -107 0 net=72
rlabel metal2 89 -107 89 -107 0 net=122
rlabel metal2 37 -109 37 -109 0 net=58
rlabel metal2 47 -109 47 -109 0 net=32
rlabel metal2 58 -109 58 -109 0 net=110
rlabel metal2 93 -109 93 -109 0 net=93
rlabel metal2 93 -109 93 -109 0 net=93
rlabel metal2 100 -109 100 -109 0 net=143
rlabel metal2 114 -109 114 -109 0 net=106
rlabel metal2 114 -109 114 -109 0 net=106
rlabel metal2 117 -109 117 -109 0 net=145
rlabel metal2 65 -111 65 -111 0 net=48
rlabel metal2 72 -113 72 -113 0 net=127
rlabel metal2 65 -124 65 -124 0 net=128
rlabel metal2 89 -124 89 -124 0 net=16
rlabel metal2 121 -124 121 -124 0 net=147
rlabel metal2 121 -124 121 -124 0 net=147
rlabel metal2 68 -126 68 -126 0 net=87
rlabel metal2 100 -126 100 -126 0 net=144
rlabel metal2 68 -128 68 -128 0 net=6
rlabel metal2 75 -128 75 -128 0 net=94
rlabel metal2 100 -128 100 -128 0 net=137
rlabel metal2 72 -139 72 -139 0 net=88
rlabel metal2 100 -139 100 -139 0 net=138
rlabel metal2 114 -139 114 -139 0 net=148
<< end >>
